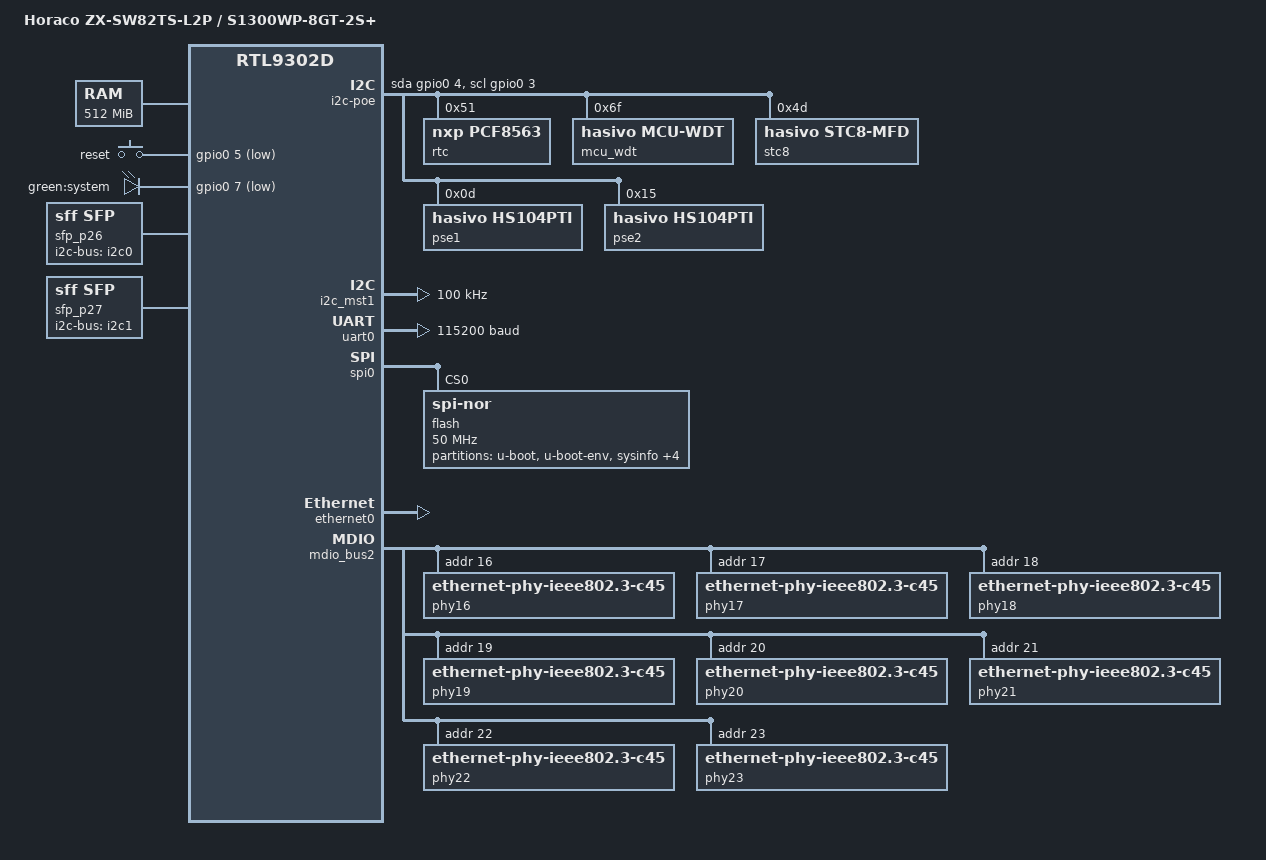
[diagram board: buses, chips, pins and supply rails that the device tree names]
// SPDX-License-Identifier: GPL-2.0-or-later
/dts-v1/;

#include "rtl930x.dtsi"

#include <dt-bindings/input/input.h>
#include <dt-bindings/gpio/gpio.h>
#include <dt-bindings/leds/common.h>

/ {
	compatible = "horaco,zx-sw82ts-l2p", "realtek,rtl9302d-2x8224-2xge";
	model = "Horaco ZX-SW82TS-L2P / S1300WP-8GT-2S+";

	memory@0 {
		device_type = "memory";
		reg = <0x00000000 0x10000000>, <0x20000000 0x10000000>;
	};

	aliases {
		led-boot = &led_sys;
		led-failsafe = &led_sys;
		led-running = &led_sys;
		led-upgrade = &led_sys;
	};

	chosen {
		bootargs = "console=ttyS0,115200 earlycon";
		stdout-path = "serial0:115200n8";
	};

	keys {
		compatible = "gpio-keys";

		button-reset {
			label = "reset";
			gpios = <&gpio0 5 GPIO_ACTIVE_LOW>;
			linux,code = <KEY_RESTART>;
		};
	};

	leds {
		compatible = "gpio-leds";

		led_sys: led-0 {
			label = "green:system";
			gpios = <&gpio0 7 GPIO_ACTIVE_LOW>;
			linux,default-trigger = "heartbeat";
		};
	};

	led_set {
		compatible = "realtek,rtl9300-leds";
		active-low;

		/*
		 * Copper ports (LED set 0): 3 slots/port.
		 * Slot 2 (DTS[0]) = Amber (Port N Amber)
		 * Slot 1 (DTS[1]) = Spacer (0)
		 * Slot 0 (DTS[2]) = Green (Port N Green)
		 */
		led_set0 = <
			(RTL93XX_LED_SET_2P5G | RTL93XX_LED_SET_LINK | RTL93XX_LED_SET_ACT)
			0x0000
			(RTL93XX_LED_SET_10M | RTL93XX_LED_SET_100M | RTL93XX_LED_SET_1G |
			 RTL93XX_LED_SET_2P5G | RTL93XX_LED_SET_LINK | RTL93XX_LED_SET_ACT)
		>;

		/*
		 * SFP+ ports (LED set 3): 2 slots/port (Bi-color).
		 * Slot 1 (DTS[0]) = Red (10G Link/Act)
		 * Slot 0 (DTS[1]) = Green (1G Link/Act)
		 */
		led_set3 = <
			(RTL93XX_LED_SET_10G | RTL93XX_LED_SET_LINK | RTL93XX_LED_SET_ACT)
			(RTL93XX_LED_SET_1G | RTL93XX_LED_SET_LINK | RTL93XX_LED_SET_ACT)
		>;

		/*
		 * Total Serial Stream (36 bits):
		 * - MAC 12-15: 4 ports * 3 bits = 12-bit Preamble (Set 0).
		 * - MAC 16-23: 8 ports * 3 bits = 24 bits Copper (Set 0).
		 * - MAC 26-27: 2 ports * 2 bits = 4 bits SFP colors (Set 3).
		 * (MAC 24, 25 skipped to prevent shifts).
		 */
		realtek,led-set0-force-port-mask = <0x00fff000>;
		realtek,led-set3-force-port-mask = <0x0c000000>;
	};

	i2c-poe {
		compatible = "i2c-gpio";
		scl-gpios = <&gpio0 3 (GPIO_ACTIVE_HIGH | GPIO_OPEN_DRAIN)>;
		sda-gpios = <&gpio0 4 (GPIO_ACTIVE_HIGH | GPIO_OPEN_DRAIN)>;
		i2c-gpio,delay-us = <2>;
		#address-cells = <1>;
		#size-cells = <0>;

		rtc@51 {
			compatible = "nxp,pcf8563";
			reg = <0x51>;
		};

		mcu_wdt: mcu@6f {
			compatible = "hasivo,mcu-wdt";
			reg = <0x6f>;
		};

		stc8: mfd@4d {
			compatible = "hasivo,stc8-mfd", "syscon";
			reg = <0x4d>;
			hasivo,execute-bit = <0x40>;
			hasivo,execute-bit-registers = <0x01 0x02>;

			poe_led_lan1: led-1 {
				compatible = "register-bit-led";
				offset = <0x01>;
				mask = <0x08>;
				color = <LED_COLOR_ID_ORANGE>;
				function = "poe";
				function-enumerator = <1>;
				default-state = "off";
				linux,default-trigger = "2-000d:port0:delivering";
			};

			poe_led_lan2: led-2 {
				compatible = "register-bit-led";
				offset = <0x01>;
				mask = <0x04>;
				color = <LED_COLOR_ID_ORANGE>;
				function = "poe";
				function-enumerator = <2>;
				default-state = "off";
				linux,default-trigger = "2-000d:port1:delivering";
			};

			poe_led_lan3: led-3 {
				compatible = "register-bit-led";
				offset = <0x01>;
				mask = <0x02>;
				color = <LED_COLOR_ID_ORANGE>;
				function = "poe";
				function-enumerator = <3>;
				default-state = "off";
				linux,default-trigger = "2-000d:port2:delivering";
			};

			poe_led_lan4: led-4 {
				compatible = "register-bit-led";
				offset = <0x01>;
				mask = <0x01>;
				color = <LED_COLOR_ID_ORANGE>;
				function = "poe";
				function-enumerator = <4>;
				default-state = "off";
				linux,default-trigger = "2-000d:port3:delivering";
			};

			poe_led_lan5: led-5 {
				compatible = "register-bit-led";
				offset = <0x02>;
				mask = <0x08>;
				color = <LED_COLOR_ID_ORANGE>;
				function = "poe";
				function-enumerator = <5>;
				default-state = "off";
				linux,default-trigger = "2-0015:port0:delivering";
			};

			poe_led_lan6: led-6 {
				compatible = "register-bit-led";
				offset = <0x02>;
				mask = <0x04>;
				color = <LED_COLOR_ID_ORANGE>;
				function = "poe";
				function-enumerator = <6>;
				default-state = "off";
				linux,default-trigger = "2-0015:port1:delivering";
			};

			poe_led_lan7: led-7 {
				compatible = "register-bit-led";
				offset = <0x02>;
				mask = <0x02>;
				color = <LED_COLOR_ID_ORANGE>;
				function = "poe";
				function-enumerator = <7>;
				default-state = "off";
				linux,default-trigger = "2-0015:port2:delivering";
			};

			poe_led_lan8: led-8 {
				compatible = "register-bit-led";
				offset = <0x02>;
				mask = <0x01>;
				color = <LED_COLOR_ID_ORANGE>;
				function = "poe";
				function-enumerator = <8>;
				default-state = "off";
				linux,default-trigger = "2-0015:port3:delivering";
			};
		};

		pse1: pse@d {
			compatible = "hasivo,hs104pti";
			reg = <0x0d>;
			#pse-cells = <1>;
		};

		pse2: pse@15 {
			compatible = "hasivo,hs104pti";
			reg = <0x15>;
			#pse-cells = <1>;
		};
	};

	sfp_p26: sfp-p26 {
		compatible = "sff,sfp";
		i2c-bus = <&i2c0>;
	};

	sfp_p27: sfp-p27 {
		compatible = "sff,sfp";
		i2c-bus = <&i2c1>;
	};
};

&i2c_mst1 {
	status = "okay";
	clock-frequency = <100000>;

	i2c0: i2c@6 {
		reg = <6>;
	};

	i2c1: i2c@7 {
		reg = <7>;
	};
};

&serdes6 {
	realtek,pnswap-rx;
	realtek,pnswap-tx;
};

&serdes7 {
	realtek,pnswap-tx;
};

&uart0 {
	current-speed = <115200>;
};

&spi0 {
	status = "okay";

	flash@0 {
		compatible = "jedec,spi-nor";
		reg = <0>;
		spi-max-frequency = <50000000>;

		partitions {
			compatible = "fixed-partitions";
			#address-cells = <1>;
			#size-cells = <1>;

			partition@0 {
				label = "u-boot";
				reg = <0x0000000 0x00e0000>;
				read-only;
			};

			partition@e0000 {
				label = "u-boot-env";
				reg = <0x00e0000 0x0010000>;

				nvmem-layout {
					compatible = "u-boot,env";
					macaddr_ubootenv_ethaddr: ethaddr {
					};
				};
			};

			partition@f0000 {
				label = "sysinfo";
				reg = <0x00f0000 0x0010000>;
				read-only;
			};

			partition@100000 {
				label = "jffs2_cfg";
				reg = <0x0100000 0x0100000>;
				read-only;
			};

			partition@200000 {
				label = "jffs2_log";
				reg = <0x0200000 0x0100000>;
				read-only;
			};

			partition@300000 {
				label = "runtime";
				reg = <0x0300000 0x0700000>;
				read-only;
			};

			partition@a00000 {
				label = "firmware";
				reg = <0x0a00000 0x1600000>;
			};
		};
	};
};

&ethernet0 {
	status = "okay";
	nvmem-cells = <&macaddr_ubootenv_ethaddr 0>;
	nvmem-cell-names = "mac-address";
};

&mdio_bus2 {
	status = "okay";

	phy16: ethernet-phy@16 {
		reg = <16>;
		realtek,smi-address = <1>;
		compatible = "ethernet-phy-ieee802.3-c45";
		mdi-reverse = <0>;
		pses = <&pse1 0>;
	};

	phy17: ethernet-phy@17 {
		reg = <17>;
		realtek,smi-address = <2>;
		compatible = "ethernet-phy-ieee802.3-c45";
		mdi-reverse = <0>;
		pses = <&pse1 1>;
	};

	phy18: ethernet-phy@18 {
		reg = <18>;
		realtek,smi-address = <3>;
		compatible = "ethernet-phy-ieee802.3-c45";
		mdi-reverse = <1>;
		pses = <&pse1 2>;
	};

	phy19: ethernet-phy@19 {
		reg = <19>;
		realtek,smi-address = <4>;
		compatible = "ethernet-phy-ieee802.3-c45";
		mdi-reverse = <1>;
		pses = <&pse1 3>;
	};

	phy20: ethernet-phy@20 {
		reg = <20>;
		realtek,smi-address = <5>;
		compatible = "ethernet-phy-ieee802.3-c45";
		mdi-reverse = <0>;
		pses = <&pse2 0>;
	};

	phy21: ethernet-phy@21 {
		reg = <21>;
		realtek,smi-address = <6>;
		compatible = "ethernet-phy-ieee802.3-c45";
		mdi-reverse = <0>;
		pses = <&pse2 1>;
	};

	phy22: ethernet-phy@22 {
		reg = <22>;
		realtek,smi-address = <7>;
		compatible = "ethernet-phy-ieee802.3-c45";
		mdi-reverse = <1>;
		pses = <&pse2 2>;
	};

	phy23: ethernet-phy@23 {
		reg = <23>;
		realtek,smi-address = <8>;
		compatible = "ethernet-phy-ieee802.3-c45";
		mdi-reverse = <1>;
		pses = <&pse2 3>;
	};
};

&switch0 {
	ethernet-ports {
		#address-cells = <1>;
		#size-cells = <0>;

		port@16 {
			reg = <16>;
			label = "lan1";
			led-set = <0>;
			pcs-handle = <&serdes6>;
			phy-handle = <&phy16>;
			phy-mode = "10g-qxgmii";
		};
		port@17 {
			reg = <17>;
			label = "lan2";
			led-set = <0>;
			pcs-handle = <&serdes6>;
			phy-handle = <&phy17>;
			phy-mode = "10g-qxgmii";
		};
		port@18 {
			reg = <18>;
			label = "lan3";
			led-set = <0>;
			pcs-handle = <&serdes6>;
			phy-handle = <&phy18>;
			phy-mode = "10g-qxgmii";
		};
		port@19 {
			reg = <19>;
			label = "lan4";
			led-set = <0>;
			pcs-handle = <&serdes6>;
			phy-handle = <&phy19>;
			phy-mode = "10g-qxgmii";
		};

		port@20 {
			reg = <20>;
			label = "lan5";
			led-set = <0>;
			pcs-handle = <&serdes7>;
			phy-handle = <&phy20>;
			phy-mode = "10g-qxgmii";
		};
		port@21 {
			reg = <21>;
			label = "lan6";
			led-set = <0>;
			pcs-handle = <&serdes7>;
			phy-handle = <&phy21>;
			phy-mode = "10g-qxgmii";
		};
		port@22 {
			reg = <22>;
			label = "lan7";
			led-set = <0>;
			pcs-handle = <&serdes7>;
			phy-handle = <&phy22>;
			phy-mode = "10g-qxgmii";
		};
		port@23 {
			reg = <23>;
			label = "lan8";
			led-set = <0>;
			pcs-handle = <&serdes7>;
			phy-handle = <&phy23>;
			phy-mode = "10g-qxgmii";
		};

		port@26 {
			reg = <26>;
			label = "lan9";
			led-set = <3>;
			phy-mode = "10gbase-r";
			managed = "in-band-status";
			pcs-handle = <&serdes8>;
			sfp = <&sfp_p26>;
		};

		port@27 {
			reg = <27>;
			label = "lan10";
			led-set = <3>;
			phy-mode = "10gbase-r";
			managed = "in-band-status";
			pcs-handle = <&serdes9>;
			sfp = <&sfp_p27>;
		};

		port@28 {
			reg = <28>;
			label = "cpu";
			ethernet = <&ethernet0>;
			phy-mode = "internal";

			fixed-link {
				speed = <1000>;
				full-duplex;
			};
		};
	};
};
